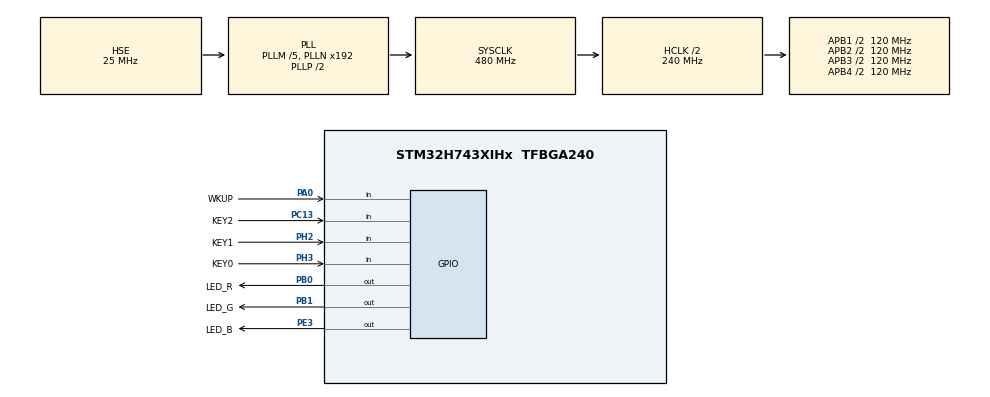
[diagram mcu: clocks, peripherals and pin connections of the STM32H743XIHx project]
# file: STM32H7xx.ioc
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CORTEX_M7.AccessPermission_S-Cortex_Memory_Protection_Unit_Region1_Settings_S=MPU_REGION_FULL_ACCESS
CORTEX_M7.AccessPermission_S-Cortex_Memory_Protection_Unit_Region2_Settings_S=MPU_REGION_FULL_ACCESS
CORTEX_M7.AccessPermission_S-Cortex_Memory_Protection_Unit_Region3_Settings_S=MPU_REGION_FULL_ACCESS
CORTEX_M7.AccessPermission_Spec=MPU_REGION_FULL_ACCESS
CORTEX_M7.BaseAddress_S-Cortex_Memory_Protection_Unit_Region1_Settings_S=0x24000000
CORTEX_M7.BaseAddress_S-Cortex_Memory_Protection_Unit_Region2_Settings_S=0x30000000
CORTEX_M7.BaseAddress_S-Cortex_Memory_Protection_Unit_Region3_Settings_S=0x38000000
CORTEX_M7.BaseAddress_Spec=0x20000000
CORTEX_M7.CPU_DCache=Enabled
CORTEX_M7.CPU_ICache=Enabled
CORTEX_M7.DisableExec_Spec=MPU_INSTRUCTION_ACCESS_ENABLE
CORTEX_M7.Enable_S-Cortex_Memory_Protection_Unit_Region1_Settings_S=MPU_REGION_ENABLE
CORTEX_M7.Enable_S-Cortex_Memory_Protection_Unit_Region2_Settings_S=MPU_REGION_ENABLE
CORTEX_M7.Enable_S-Cortex_Memory_Protection_Unit_Region3_Settings_S=MPU_REGION_ENABLE
CORTEX_M7.Enable_S-Cortex_Memory_Protection_Unit_Region4_Settings_S=__NULL
CORTEX_M7.Enable_S-Cortex_Memory_Protection_Unit_Region5_Settings_S=__NULL
CORTEX_M7.IsBufferable_S-Cortex_Memory_Protection_Unit_Region1_Settings_S=MPU_ACCESS_BUFFERABLE
CORTEX_M7.IsBufferable_S-Cortex_Memory_Protection_Unit_Region2_Settings_S=MPU_ACCESS_BUFFERABLE
CORTEX_M7.IsBufferable_S-Cortex_Memory_Protection_Unit_Region3_Settings_S=MPU_ACCESS_BUFFERABLE
CORTEX_M7.IsBufferable_Spec=MPU_ACCESS_BUFFERABLE
CORTEX_M7.IsCacheable_S-Cortex_Memory_Protection_Unit_Region1_Settings_S=MPU_ACCESS_CACHEABLE
CORTEX_M7.IsCacheable_S-Cortex_Memory_Protection_Unit_Region2_Settings_S=MPU_ACCESS_CACHEABLE
CORTEX_M7.IsCacheable_S-Cortex_Memory_Protection_Unit_Region3_Settings_S=MPU_ACCESS_CACHEABLE
CORTEX_M7.IsCacheable_Spec=MPU_ACCESS_CACHEABLE
CORTEX_M7.IsShareable_Spec=MPU_ACCESS_NOT_SHAREABLE
CORTEX_M7.Size_S-Cortex_Memory_Protection_Unit_Region1_Settings_S=MPU_REGION_SIZE_512KB
CORTEX_M7.Size_S-Cortex_Memory_Protection_Unit_Region2_Settings_S=MPU_REGION_SIZE_512KB
CORTEX_M7.Size_S-Cortex_Memory_Protection_Unit_Region3_Settings_S=MPU_REGION_SIZE_64KB
CORTEX_M7.Size_Spec=MPU_REGION_SIZE_128KB
CORTEX_M7.SubRegionDisable_Spec=0x00
CORTEX_M7.default_mode_Activation=1
Mcu.Family=STM32H7
Mcu.Name=STM32H743XIHx
Mcu.Package=TFBGA240
NVIC.PriorityGroup=NVIC_PRIORITYGROUP_2
PA0.GPIO_Label=WKUP
PA0.GPIO_PuPd=GPIO_PULLDOWN
PA0.Signal=GPIO_Input
PA13\ (JTMS/SWDIO).Mode=Serial_Wire
PA13\ (JTMS/SWDIO).Signal=DEBUG_JTMS-SWDIO
PA14\ (JTCK/SWCLK).Mode=Serial_Wire
PA14\ (JTCK/SWCLK).Signal=DEBUG_JTCK-SWCLK
PB0.GPIO_Label=LED_R
PB0.GPIO_ModeDefaultOutputPP=GPIO_MODE_OUTPUT_PP
PB0.GPIO_PuPd=GPIO_PULLUP
PB0.GPIO_Speed=GPIO_SPEED_FREQ_HIGH
PB0.PinState=GPIO_PIN_SET
PB0.Signal=GPIO_Output
PB1.GPIO_Label=LED_G
PB1.GPIO_ModeDefaultOutputPP=GPIO_MODE_OUTPUT_PP
PB1.GPIO_PuPd=GPIO_PULLUP
PB1.GPIO_Speed=GPIO_SPEED_FREQ_HIGH
PB1.PinState=GPIO_PIN_SET
PB1.Signal=GPIO_Output
PC13.GPIO_Label=KEY2
PC13.GPIO_PuPd=GPIO_PULLUP
PC13.Signal=GPIO_Input
PC14-OSC32_IN\ (OSC32_IN).Mode=LSE-External-Oscillator
PC14-OSC32_IN\ (OSC32_IN).Signal=RCC_OSC32_IN
PC15-OSC32_OUT\ (OSC32_OUT).Mode=LSE-External-Oscillator
PC15-OSC32_OUT\ (OSC32_OUT).Signal=RCC_OSC32_OUT
PE3.GPIO_Label=LED_B
PE3.GPIO_ModeDefaultOutputPP=GPIO_MODE_OUTPUT_PP
PE3.GPIO_PuPd=GPIO_PULLUP
PE3.GPIO_Speed=GPIO_SPEED_FREQ_HIGH
PE3.PinState=GPIO_PIN_SET
PE3.Signal=GPIO_Output
PH0-OSC_IN\ (PH0).Mode=HSE-External-Oscillator
PH0-OSC_IN\ (PH0).Signal=RCC_OSC_IN
PH1-OSC_OUT\ (PH1).Mode=HSE-External-Oscillator
PH1-OSC_OUT\ (PH1).Signal=RCC_OSC_OUT
PH2.GPIO_Label=KEY1
PH2.GPIO_PuPd=GPIO_PULLUP
PH2.Signal=GPIO_Input
PH3.GPIO_Label=KEY0
PH3.GPIO_PuPd=GPIO_PULLUP
PH3.Signal=GPIO_Input
ProjectManager.HeapSize=0x200
ProjectManager.StackSize=0x400
ProjectManager.TargetToolchain=MDK-ARM V5.32
RCC.ADCFreq_Value=75000000
RCC.APB1Freq_Value=120000000
RCC.APB2Freq_Value=120000000
RCC.APB3Freq_Value=120000000
RCC.APB4Freq_Value=120000000
RCC.CortexFreq_Value=480000000
RCC.D1PPRE=RCC_APB3_DIV2
RCC.D2PPRE1=RCC_APB1_DIV2
RCC.D2PPRE2=RCC_APB2_DIV2
RCC.D3PPRE=RCC_APB4_DIV2
RCC.DIVM1=5
RCC.DIVM2=2
RCC.DIVN1=192
RCC.DIVN2=12
RCC.HCLKFreq_Value=240000000
RCC.HPRE=RCC_HCLK_DIV2
RCC.PLL2FRACN=0
RCC.PLL3FRACN=0
RCC.PLLFRACN=0
RCC.PLLSourceVirtual=RCC_PLLSOURCE_HSE
RCC.PWR_Regulator_Voltage_Scale=PWR_REGULATOR_VOLTAGE_SCALE0
RCC.ProductRev=revV
RCC.RCC_TIM_PRescaler_Selection=RCC_TIMPRES_ACTIVATED
RCC.SYSCLKFreq_VALUE=480000000
RCC.SYSCLKSource=RCC_SYSCLKSOURCE_PLLCLK
RCC.USBFreq_Value=480000000
RCC.VDD_VALUE=3.3
board=custom

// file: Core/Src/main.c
/* USER CODE BEGIN Header */
/**
  ******************************************************************************
  * @file           : main.c
  * @brief          : Main program body
  ******************************************************************************
  * @attention
  *
  * Copyright (c) 2023 STMicroelectronics.
  * All rights reserved.
  *
  * This software is licensed under terms that can be found in the LICENSE file
  * in the root directory of this software component.
  * If no LICENSE file comes with this software, it is provided AS-IS.
  *
  ******************************************************************************
  */
/* USER CODE END Header */
#include "main.h"
#include "gpio.h"

/* USER CODE BEGIN Includes */

#include "stdio.h"

/* USER CODE END Includes */

void SystemClock_Config(void);
void PeriphCommonClock_Config(void);
static void MPU_Config(void);

int main(void)
{

  /* USER CODE BEGIN 1 */

    uint8_t key;

  /* USER CODE END 1 */

  /* MPU Configuration--------------------------------------------------------*/
  MPU_Config();

  /* Enable the CPU Cache */

  /* Enable I-Cache---------------------------------------------------------*/
  SCB_EnableICache();

  /* Enable D-Cache---------------------------------------------------------*/
  SCB_EnableDCache();

  /* MCU Configuration--------------------------------------------------------*/

  /* Reset of all peripherals, Initializes the Flash interface and the Systick. */
  HAL_Init();

  /* Configure the system clock */
  SystemClock_Config();

/* Configure the peripherals common clocks */
  PeriphCommonClock_Config();

  /* Initialize all configured peripherals */
  MX_GPIO_Init();

  /* Infinite loop */
  /* USER CODE BEGIN WHILE */
    while (1)
    {

        key = key_scan(0);                /* 得到键值 */

        if (key)
        {
            switch (key)
            {
                case WKUP_PRES:
                    LED_R_TOGGLE();       /* LEDR状态取反 */
                    break;

                case KEY0_PRES:
                    LED_G_TOGGLE();       /* LEDG状态取反 */
                    break;

                case KEY1_PRES:
                    LED_B_TOGGLE();       /* LEDB状态取反 */
                    break;

                case KEY2_PRES:
                    LED_R(1);             /* LED全灭 */
                    LED_G(1);
                    LED_B(1);
                    break;
            }
        }
        else
        {
            HAL_Delay(10);
        }

    /* USER CODE END WHILE */

    }
}

void SystemClock_Config(void)
{
  RCC_OscInitTypeDef RCC_OscInitStruct = {0};
  RCC_ClkInitTypeDef RCC_ClkInitStruct = {0};

  /** Supply configuration update enable
  */
  HAL_PWREx_ConfigSupply(PWR_LDO_SUPPLY);

  /** Configure the main internal regulator output voltage
  */
  __HAL_PWR_VOLTAGESCALING_CONFIG(PWR_REGULATOR_VOLTAGE_SCALE1);

  while(!__HAL_PWR_GET_FLAG(PWR_FLAG_VOSRDY)) {}

  __HAL_RCC_SYSCFG_CLK_ENABLE();
  __HAL_PWR_VOLTAGESCALING_CONFIG(PWR_REGULATOR_VOLTAGE_SCALE0);

  while(!__HAL_PWR_GET_FLAG(PWR_FLAG_VOSRDY)) {}

  /** Initializes the RCC Oscillators according to the specified parameters
  * in the RCC_OscInitTypeDef structure.
  */
  RCC_OscInitStruct.OscillatorType = RCC_OSCILLATORTYPE_HSE;
  RCC_OscInitStruct.HSEState = RCC_HSE_ON;
  RCC_OscInitStruct.PLL.PLLState = RCC_PLL_ON;
  RCC_OscInitStruct.PLL.PLLSource = RCC_PLLSOURCE_HSE;
  RCC_OscInitStruct.PLL.PLLM = 5;
  RCC_OscInitStruct.PLL.PLLN = 192;
  RCC_OscInitStruct.PLL.PLLP = 2;
  RCC_OscInitStruct.PLL.PLLQ = 2;
  RCC_OscInitStruct.PLL.PLLR = 2;
  RCC_OscInitStruct.PLL.PLLRGE = RCC_PLL1VCIRANGE_2;
  RCC_OscInitStruct.PLL.PLLVCOSEL = RCC_PLL1VCOWIDE;
  RCC_OscInitStruct.PLL.PLLFRACN = 0;
  if (HAL_RCC_OscConfig(&RCC_OscInitStruct) != HAL_OK)
  {
    Error_Handler();
  }

  /** Initializes the CPU, AHB and APB buses clocks
  */
  RCC_ClkInitStruct.ClockType = RCC_CLOCKTYPE_HCLK|RCC_CLOCKTYPE_SYSCLK
                              |RCC_CLOCKTYPE_PCLK1|RCC_CLOCKTYPE_PCLK2
                              |RCC_CLOCKTYPE_D3PCLK1|RCC_CLOCKTYPE_D1PCLK1;
  RCC_ClkInitStruct.SYSCLKSource = RCC_SYSCLKSOURCE_PLLCLK;
  RCC_ClkInitStruct.SYSCLKDivider = RCC_SYSCLK_DIV1;
  RCC_ClkInitStruct.AHBCLKDivider = RCC_HCLK_DIV2;
  RCC_ClkInitStruct.APB3CLKDivider = RCC_APB3_DIV2;
  RCC_ClkInitStruct.APB1CLKDivider = RCC_APB1_DIV2;
  RCC_ClkInitStruct.APB2CLKDivider = RCC_APB2_DIV2;
  RCC_ClkInitStruct.APB4CLKDivider = RCC_APB4_DIV2;

  if (HAL_RCC_ClockConfig(&RCC_ClkInitStruct, FLASH_LATENCY_4) != HAL_OK)
  {
    Error_Handler();
  }
}

void PeriphCommonClock_Config(void)
{
  RCC_PeriphCLKInitTypeDef PeriphClkInitStruct = {0};

  /** Initializes the peripherals clock
  */
  PeriphClkInitStruct.PeriphClockSelection = RCC_PERIPHCLK_TIM;
  PeriphClkInitStruct.TIMPresSelection = RCC_TIMPRES_ACTIVATED;

  if (HAL_RCCEx_PeriphCLKConfig(&PeriphClkInitStruct) != HAL_OK)
  {
    Error_Handler();
  }
}

 /* MPU Configuration */

void MPU_Config(void)
{
  MPU_Region_InitTypeDef MPU_InitStruct = {0};

  /* Disables the MPU */
  HAL_MPU_Disable();

  /** Initializes and configures the Region and the memory to be protected
  */
  MPU_InitStruct.Enable = MPU_REGION_ENABLE;
  MPU_InitStruct.Number = MPU_REGION_NUMBER0;
  MPU_InitStruct.BaseAddress = 0x20000000;
  MPU_InitStruct.Size = MPU_REGION_SIZE_128KB;
  MPU_InitStruct.SubRegionDisable = 0x00;
  MPU_InitStruct.TypeExtField = MPU_TEX_LEVEL0;
  MPU_InitStruct.AccessPermission = MPU_REGION_FULL_ACCESS;
  MPU_InitStruct.DisableExec = MPU_INSTRUCTION_ACCESS_ENABLE;
  MPU_InitStruct.IsShareable = MPU_ACCESS_NOT_SHAREABLE;
  MPU_InitStruct.IsCacheable = MPU_ACCESS_CACHEABLE;
  MPU_InitStruct.IsBufferable = MPU_ACCESS_BUFFERABLE;

  HAL_MPU_ConfigRegion(&MPU_InitStruct);

  /** Initializes and configures the Region and the memory to be protected
  */
  MPU_InitStruct.Number = MPU_REGION_NUMBER1;
  MPU_InitStruct.BaseAddress = 0x24000000;
  MPU_InitStruct.Size = MPU_REGION_SIZE_512KB;
  MPU_InitStruct.SubRegionDisable = 0x0;

  HAL_MPU_ConfigRegion(&MPU_InitStruct);

  /** Initializes and configures the Region and the memory to be protected
  */
  MPU_InitStruct.Number = MPU_REGION_NUMBER2;
  MPU_InitStruct.BaseAddress = 0x30000000;

  HAL_MPU_ConfigRegion(&MPU_InitStruct);

  /** Initializes and configures the Region and the memory to be protected
  */
  MPU_InitStruct.Number = MPU_REGION_NUMBER3;
  MPU_InitStruct.BaseAddress = 0x38000000;
  MPU_InitStruct.Size = MPU_REGION_SIZE_64KB;

  HAL_MPU_ConfigRegion(&MPU_InitStruct);
  /* Enables the MPU */
  HAL_MPU_Enable(MPU_PRIVILEGED_DEFAULT);

}

void Error_Handler(void)
{
  /* USER CODE BEGIN Error_Handler_Debug */
  /* User can add his own implementation to report the HAL error return state */
  __disable_irq();
  while (1)
  {
      break;
  }
  /* USER CODE END Error_Handler_Debug */
}
